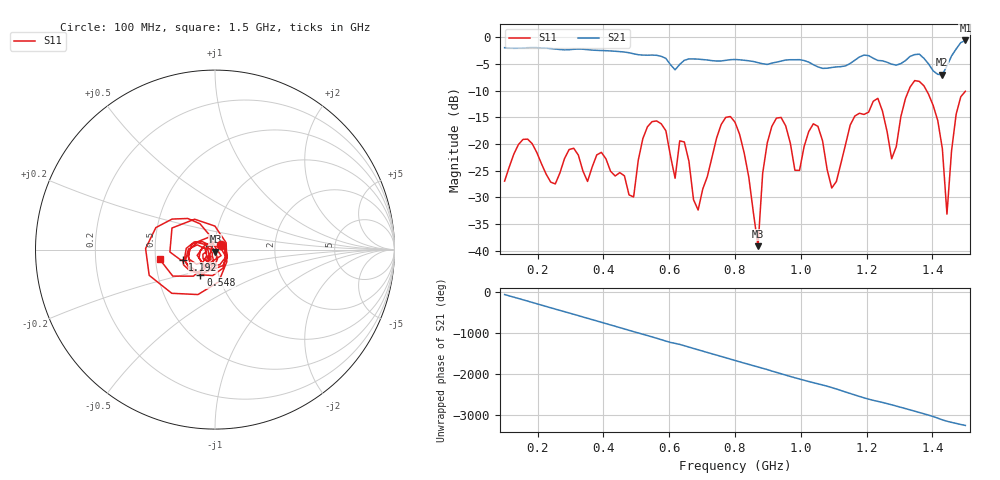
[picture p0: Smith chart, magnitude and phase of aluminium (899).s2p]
! NanoVNA-App
! Date: 2025-09-25 15:02:17
! Start: 100MHz Stop: 1,5GHz Points: 101
! S-Parameter data: F S11 S21 S12 S22
# Hz S RI R 50
!  Frequency  S11_Real  S11_Imag  S21_Real  S21_Imag  S12_Real  S12_Imag  S22_Real  S22_Imag
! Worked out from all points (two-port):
!   101 points, 100 MHz to 1.5 GHz, reference 50 ohm
!   highest |S21| = -0.57 dB at 1.5 GHz (marker M1); lowest = -7.0 dB at 1.43 GHz (marker M2)
!   |S21| within 3 dB of the highest: start of sweep to 576.8 MHz; 1.457 GHz to end of sweep (the widest 2 of 4)
!   lowest |S11| = -39.2 dB at 870 MHz (marker M3), VSWR 1.02, Z = 50.2 - j1.07 ohm
!   |S11| at or under -10 dB: start of sweep to 1.327 GHz; 1.382 GHz to end of sweep
!   S12 and S22 are empty: the file has one direction only
!   S11 on the Smith chart (normalised r, x): 100 MHz: 1.07, +0.06; 548 MHz: 0.82, -0.24; 1.192 GHz: 0.69, -0.08; 1.5 GHz: 0.53, -0.06
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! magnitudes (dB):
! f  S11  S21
! 100 MHz  -27.0  -1.9
! 156 MHz  -19.1  -2.0
! 338 MHz  -25.1  -2.2
! 492 MHz  -29.9  -3.1
! 548 MHz  -15.8  -3.3
! 576 MHz  -16.2  -3.5
! 646 MHz  -19.6  -4.3
! 688 MHz  -32.4  -4.1
! 800 MHz  -15.9  -4.1
! 870 MHz  -39.2  -4.7
! 912 MHz  -16.7  -4.8
! 996 MHz  -25.0  -4.2
! 1.038 GHz  -16.2  -5.1
! 1.094 GHz  -28.3  -5.6
! 1.192 GHz  -14.5  -3.3
! 1.234 GHz  -11.4  -4.3
! 1.276 GHz  -22.8  -5.0
! 1.346 GHz  -8.1  -3.2
! 1.43 GHz  -20.9  -7.0
! 1.444 GHz  -33.2  -5.4
! 1.472 GHz  -14.4  -2.2
! 1.5 GHz  -10.1  -0.6
